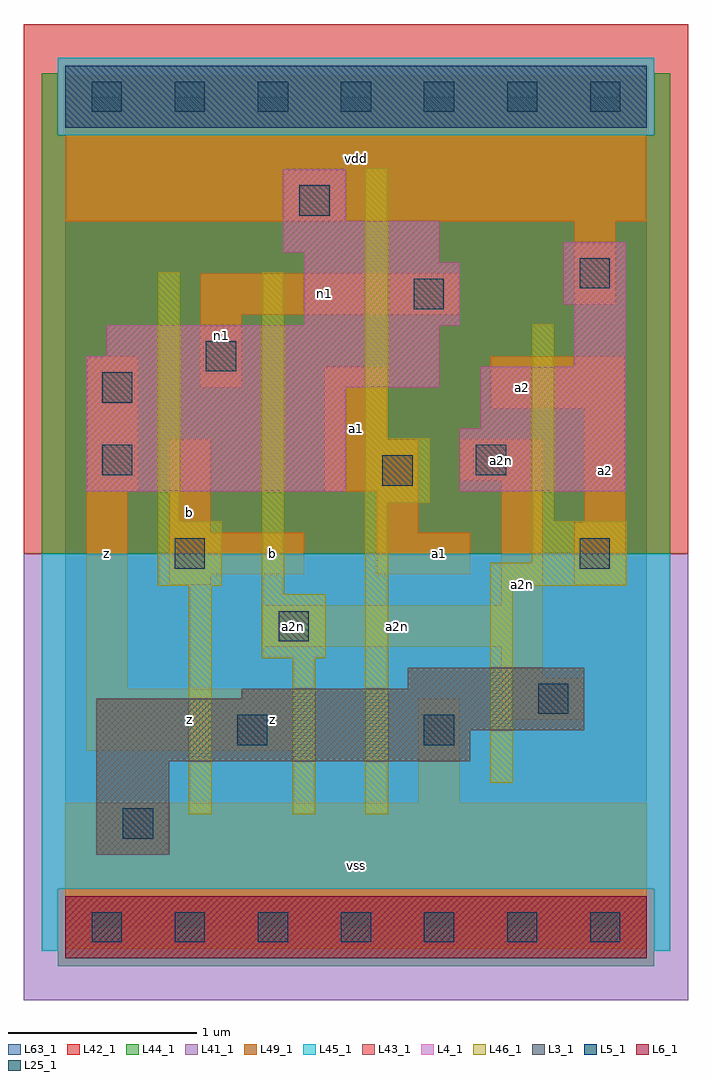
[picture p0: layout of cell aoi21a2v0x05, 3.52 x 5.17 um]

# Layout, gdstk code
import gdstk
lib = gdstk.Library(unit=1e-6, precision=1e-09)
def R(c, l, rs):  # rectangles x0, y0, x1, y1
    for r in rs: c.add(gdstk.rectangle(r[:2], r[2:], *l))
def A(c, l, x, y, w, h, nx, ny, dx, dy):  # array of equal rectangles
    R(c, l, [(x+i*dx, y+j*dy, x+i*dx+w, y+j*dy+h) for i in range(nx) for j in range(ny)])
L3_1 = (3, 1)
L4_1 = (4, 1)
L5_1 = (5, 1)
L6_1 = (6, 1)
L25_1 = (25, 1)
L41_1 = (41, 1)
L42_1 = (42, 1)
L43_1 = (43, 1)
L44_1 = (44, 1)
L45_1 = (45, 1)
L46_1 = (46, 1)
L49_1 = (49, 1)
L63_1 = (63, 1)

aoi21a2v0x05 = lib.new_cell('aoi21a2v0x05')
R(aoi21a2v0x05, L3_1, [(0.165,0.385,0.55,0.88), (0.165,0.88,2.145,1.045), (0.165,1.045,2.75,1.21), (0.935,1.21,2.75,1.265), (1.815,1.265,2.75,1.375)])
R(aoi21a2v0x05, L4_1, [(0.11,2.31,1.485,2.86), (2.09,2.31,2.97,2.64), (2.2,2.64,2.97,2.97), (0.11,2.86,1.98,3.025), (2.695,2.97,2.97,3.3), (0.22,3.025,1.98,3.19), (1.265,3.19,2.09,3.52), (2.64,3.3,2.97,3.63), (1.265,3.52,1.98,3.575), (1.155,3.575,1.98,3.74), (1.155,3.74,1.485,4.015)])
R(aoi21a2v0x05, L5_1, [(0,4.235,3.08,4.565)])
R(aoi21a2v0x05, L6_1, [(0,-0.165,3.08,0.165)])
A(aoi21a2v0x05, L25_1, 0.14, -0.08, 0.16, 0.16, 7, 2, 0.44, 4.4)
R(aoi21a2v0x05, L25_1, [(0.305,0.47,0.465,0.63), (0.91,0.965,1.07,1.125), (1.9,0.965,2.06,1.125), (2.505,1.13,2.665,1.29), (1.13,1.515,1.29,1.675), (0.58,1.9,0.74,2.06), (2.725,1.9,2.885,2.06), (1.68,2.34,1.84,2.5), (0.195,2.395,0.355,2.555), (2.175,2.395,2.335,2.555), (0.195,2.78,0.355,2.94), (0.745,2.945,0.905,3.105), (1.845,3.275,2.005,3.435), (2.725,3.385,2.885,3.545), (1.24,3.77,1.4,3.93)])
R(aoi21a2v0x05, L41_1, [(-0.22,-0.385,3.3,1.98)])
R(aoi21a2v0x05, L42_1, [(-0.22,1.98,3.3,4.785)])
R(aoi21a2v0x05, L43_1, [(0,-0.165,3.08,0.165), (0.165,0.385,0.55,0.88), (0.165,0.88,2.145,1.045), (0.165,1.045,2.75,1.21), (0.935,1.21,2.75,1.265), (1.815,1.265,2.75,1.375), (0.11,2.31,1.485,2.86), (2.09,2.31,2.97,2.64), (2.2,2.64,2.97,2.97), (0.11,2.86,1.98,3.025), (2.695,2.97,2.97,3.3), (0.22,3.025,1.98,3.19), (1.265,3.19,2.09,3.52), (2.64,3.3,2.97,3.63), (1.265,3.52,1.98,3.575), (1.155,3.575,1.98,3.74), (1.155,3.74,1.485,4.015), (0,4.235,3.08,4.565)])
R(aoi21a2v0x05, L44_1, [(-0.04,-0.205,3.12,0.205), (-0.125,1.98,3.205,4.195), (-0.125,4.195,-0.04,4.525), (3.12,4.195,3.205,4.525)])
R(aoi21a2v0x05, L45_1, [(-0.125,-0.125,-0.04,0.205), (3.12,-0.125,3.205,0.205), (-0.125,0.205,3.205,1.98), (-0.04,4.195,3.12,4.605)])
R(aoi21a2v0x05, L46_1, [(0.655,0.6,0.775,1.81), (1.205,0.6,1.325,1.425), (1.59,0.6,1.71,2.25), (2.25,0.765,2.37,1.81), (1.04,1.425,1.38,1.765), (1.04,1.765,1.16,3.47), (0.49,1.81,0.83,2.15), (2.25,1.81,2.975,1.93), (2.47,1.93,2.975,2.15), (0.49,2.15,0.61,3.47), (2.47,2.15,2.59,3.195), (1.59,2.25,1.93,2.59), (1.59,2.59,1.71,4.02)])
R(aoi21a2v0x05, L49_1, [(0,-0.11,3.08,0.66), (1.87,0.66,2.09,1.21), (0.11,0.935,1.21,1.265), (2.31,1.1,2.75,1.32), (0.11,1.265,0.33,2.31), (2.31,1.32,2.53,1.485), (1.045,1.485,2.53,1.705), (2.31,1.705,2.53,2.365), (0.55,1.815,0.77,1.87), (2.695,1.815,2.97,2.145), (0.55,1.87,1.265,2.09), (1.65,1.87,2.145,2.09), (0.55,2.09,0.77,2.585), (1.65,2.09,1.87,2.31), (2.75,2.145,2.97,2.75), (0.11,2.31,0.385,3.025), (1.375,2.31,1.87,2.585), (2.09,2.365,2.53,2.585), (1.375,2.585,1.705,2.97), (2.255,2.75,2.97,3.025), (0.715,2.86,0.935,3.245), (0.715,3.245,2.09,3.465), (2.695,3.3,2.915,3.74), (0,3.74,3.08,4.51)])
R(aoi21a2v0x05, L63_1, [(0,0,3.08,4.4)])
aoi21a2v0x05.add(gdstk.Label('a2n', (1.21,1.595), layer=49, texttype=1))
aoi21a2v0x05.add(gdstk.Label('z', (0.22,1.98), layer=49, texttype=1))
aoi21a2v0x05.add(gdstk.Label('z', (0.66,1.1), layer=49, texttype=1))
aoi21a2v0x05.add(gdstk.Label('b', (0.66,2.2), layer=49, texttype=1))
aoi21a2v0x05.add(gdstk.Label('n1', (0.825,3.135), layer=49, texttype=1))
aoi21a2v0x05.add(gdstk.Label('vss', (1.54,0.33), layer=49, texttype=1))
aoi21a2v0x05.add(gdstk.Label('z', (1.1,1.1), layer=49, texttype=1))
aoi21a2v0x05.add(gdstk.Label('b', (1.1,1.98), layer=49, texttype=1))
aoi21a2v0x05.add(gdstk.Label('a1', (1.54,2.64), layer=49, texttype=1))
aoi21a2v0x05.add(gdstk.Label('vdd', (1.54,4.07), layer=49, texttype=1))
aoi21a2v0x05.add(gdstk.Label('a2n', (2.42,1.815), layer=49, texttype=1))
aoi21a2v0x05.add(gdstk.Label('a2n', (1.76,1.595), layer=49, texttype=1))
aoi21a2v0x05.add(gdstk.Label('a1', (1.98,1.98), layer=49, texttype=1))
aoi21a2v0x05.add(gdstk.Label('a2n', (2.31,2.475), layer=49, texttype=1))
aoi21a2v0x05.add(gdstk.Label('a2', (2.42,2.86), layer=49, texttype=1))
aoi21a2v0x05.add(gdstk.Label('n1', (1.375,3.355), layer=49, texttype=1))
aoi21a2v0x05.add(gdstk.Label('a2', (2.86,2.42), layer=49, texttype=1))

lib.write_gds('aoi21a2v0x05.gds')
